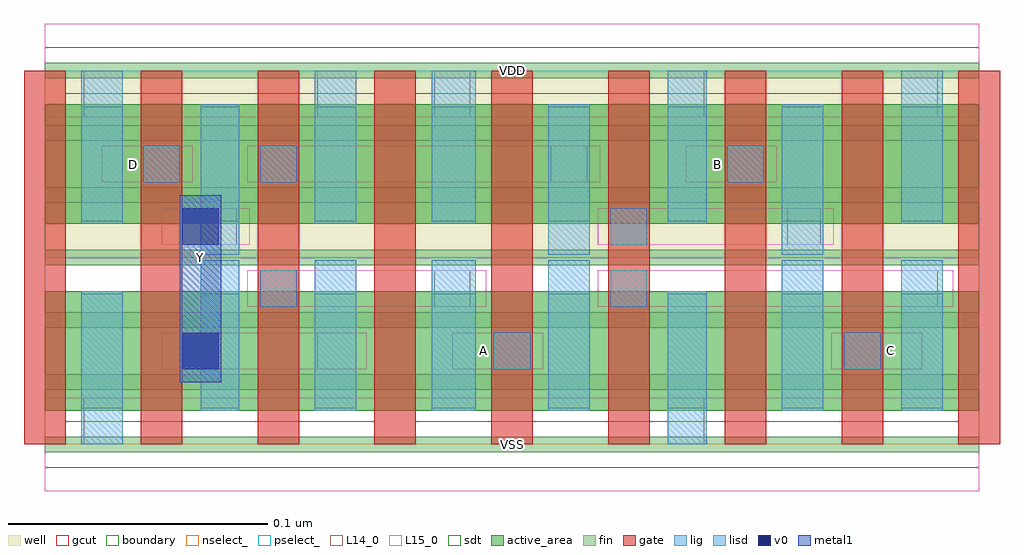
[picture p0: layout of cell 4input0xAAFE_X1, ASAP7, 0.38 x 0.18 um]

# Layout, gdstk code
import gdstk
lib = gdstk.Library(unit=1e-6, precision=1e-09)
def R(c, l, rs):  # rectangles x0, y0, x1, y1
    for r in rs: c.add(gdstk.rectangle(r[:2], r[2:], *l))
def A(c, l, x, y, w, h, nx, ny, dx, dy):  # array of equal rectangles
    R(c, l, [(x+i*dx, y+j*dy, x+i*dx+w, y+j*dy+h) for i in range(nx) for j in range(ny)])
def P(c, l, *ps):  # polygons
    for p in ps: c.add(gdstk.Polygon(p, *l))
well = (1, 0)
fin = (2, 0)
gate = (7, 0)
gcut = (10, 0)
active_area = (11, 0)
nselect_ = (12, 0)
pselect_ = (13, 0)
L14_0 = (14, 0)
L15_0 = (15, 0)
lig = (16, 0)
lisd = (17, 0)
v0 = (18, 0)
metal1 = (19, 0)
sdt = (88, 0)
boundary = (100, 0)

c_4input0xaafe_x1 = lib.new_cell('4input0xAAFE_X1')
R(c_4input0xaafe_x1, well, [(0,0.072,0.36,0.144)])
A(c_4input0xaafe_x1, fin, 0, -0.003, 0.36, 0.006, 1, 7, 0, 0.024)
A(c_4input0xaafe_x1, gate, -0.008, 0, 0.016, 0.144, 9, 1, 0.045, 0)
P(c_4input0xaafe_x1, gcut, [(0,-0.009),(0,0),(-0.008,0),(-0.008,0.135),(0.008,0.135),(0.008,0.009),(0.127,0.009),(0.127,0.135),(0.143,0.135),(0.143,0.009),(0.352,0.009),(0.352,0.135),(-0.008,0.135),(-0.008,0.144),(0,0.144),(0,0.153),(0.36,0.153),(0.36,0.144),(0.368,0.144),(0.368,0),(0.36,0),(0.36,-0.009)])
R(c_4input0xaafe_x1, active_area, [(0,0.013,0.36,0.059), (0,0.085,0.36,0.131)])
R(c_4input0xaafe_x1, nselect_, [(0,0,0.36,0.072)])
R(c_4input0xaafe_x1, pselect_, [(0,0.072,0.36,0.144)])
A(c_4input0xaafe_x1, L14_0, 0.15, 0.126, 0.014, 0.018, 3, 1, 0.09, 0)
R(c_4input0xaafe_x1, L14_0, [(0.015,0,0.03,0.018), (0.24,0,0.254,0.018), (0.105,0.029,0.12,0.043), (0.173,0.029,0.187,0.043), (0.308,0.029,0.322,0.043), (0.083,0.053,0.097,0.067), (0.15,0.053,0.164,0.067), (0.218,0.053,0.232,0.067), (0.33,0.053,0.344,0.067), (0.06,0.077,0.074,0.091), (0.218,0.077,0.232,0.091), (0.286,0.077,0.299,0.091), (0.038,0.101,0.052,0.115), (0.083,0.101,0.097,0.115), (0.195,0.101,0.209,0.115), (0.263,0.101,0.277,0.115), (0.015,0.126,0.03,0.144), (0.105,0.126,0.12,0.144)])
R(c_4input0xaafe_x1, L15_0, [(0,-0.018,0.36,0.018), (0.045,0.029,0.124,0.043), (0.157,0.029,0.192,0.043), (0.303,0.029,0.338,0.043), (0.078,0.053,0.17,0.067), (0.213,0.053,0.35,0.067), (0.045,0.077,0.079,0.091), (0.213,0.077,0.304,0.091), (0.022,0.101,0.057,0.115), (0.078,0.101,0.214,0.115), (0.247,0.101,0.282,0.115), (0,0.126,0.36,0.162)])
R(c_4input0xaafe_x1, lig, [(0.173,0.029,0.187,0.043), (0.308,0.029,0.322,0.043), (0.083,0.053,0.097,0.067), (0.218,0.053,0.232,0.067), (0.218,0.077,0.232,0.091), (0.038,0.101,0.052,0.115), (0.083,0.101,0.097,0.115), (0.263,0.101,0.277,0.115)])
A(c_4input0xaafe_x1, lisd, 0.104, 0.013, 0.016, 0.058, 3, 1, 0.09, 0)
R(c_4input0xaafe_x1, lisd, [(0.014,0,0.03,0.059), (0.24,0,0.255,0.059), (0.06,0.013,0.075,0.071), (0.149,0.013,0.166,0.071), (0.33,0.013,0.346,0.071), (0.06,0.073,0.075,0.131), (0.194,0.073,0.21,0.131), (0.284,0.073,0.3,0.131), (0.014,0.085,0.03,0.144), (0.104,0.085,0.12,0.144), (0.149,0.085,0.166,0.144), (0.24,0.085,0.255,0.144), (0.33,0.085,0.346,0.144)])
R(c_4input0xaafe_x1, v0, [(0.053,0.029,0.067,0.043), (0.053,0.077,0.067,0.091)])
R(c_4input0xaafe_x1, metal1, [(0.052,0.024,0.068,0.096)])
A(c_4input0xaafe_x1, sdt, 0.014, 0.014, 0.016, 0.044, 4, 2, 0.09, 0.072)
R(c_4input0xaafe_x1, sdt, [(0.06,0.014,0.075,0.058), (0.149,0.014,0.166,0.058), (0.24,0.014,0.255,0.058), (0.33,0.014,0.346,0.058), (0.06,0.086,0.075,0.13), (0.149,0.086,0.166,0.13), (0.24,0.086,0.255,0.13), (0.33,0.086,0.346,0.13)])
R(c_4input0xaafe_x1, boundary, [(0,0,0.36,0.144)])
c_4input0xaafe_x1.add(gdstk.Label('C', (0.326,0.036), layer=15, texttype=251))
c_4input0xaafe_x1.add(gdstk.Label('VSS', (0.18,0), layer=15, texttype=251))
c_4input0xaafe_x1.add(gdstk.Label('VDD', (0.18,0.144), layer=15, texttype=251))
c_4input0xaafe_x1.add(gdstk.Label('D', (0.034,0.108), layer=15, texttype=251))
c_4input0xaafe_x1.add(gdstk.Label('VSS', (0.18,0), layer=15, texttype=251))
c_4input0xaafe_x1.add(gdstk.Label('VDD', (0.18,0.144), layer=15, texttype=251))
c_4input0xaafe_x1.add(gdstk.Label('VSS', (0.18,0), layer=15, texttype=251))
c_4input0xaafe_x1.add(gdstk.Label('VDD', (0.18,0.144), layer=15, texttype=251))
c_4input0xaafe_x1.add(gdstk.Label('A', (0.169,0.036), layer=15, texttype=251))
c_4input0xaafe_x1.add(gdstk.Label('VSS', (0.18,0), layer=15, texttype=251))
c_4input0xaafe_x1.add(gdstk.Label('VDD', (0.18,0.144), layer=15, texttype=251))
c_4input0xaafe_x1.add(gdstk.Label('B', (0.259,0.108), layer=15, texttype=251))
c_4input0xaafe_x1.add(gdstk.Label('VSS', (0.18,0), layer=15, texttype=251))
c_4input0xaafe_x1.add(gdstk.Label('VDD', (0.18,0.144), layer=15, texttype=251))
c_4input0xaafe_x1.add(gdstk.Label('VSS', (0.18,0), layer=3, texttype=251))
c_4input0xaafe_x1.add(gdstk.Label('VSS', (0.18,0), layer=3, texttype=251))
c_4input0xaafe_x1.add(gdstk.Label('VSS', (0.18,0), layer=3, texttype=251))
c_4input0xaafe_x1.add(gdstk.Label('VSS', (0.18,0), layer=3, texttype=251))
c_4input0xaafe_x1.add(gdstk.Label('VSS', (0.18,0), layer=3, texttype=251))
c_4input0xaafe_x1.add(gdstk.Label('VDD', (0.18,0.144), layer=1, texttype=251))
c_4input0xaafe_x1.add(gdstk.Label('VDD', (0.18,0.144), layer=1, texttype=251))
c_4input0xaafe_x1.add(gdstk.Label('VDD', (0.18,0.144), layer=1, texttype=251))
c_4input0xaafe_x1.add(gdstk.Label('VDD', (0.18,0.144), layer=1, texttype=251))
c_4input0xaafe_x1.add(gdstk.Label('VDD', (0.18,0.144), layer=1, texttype=251))
c_4input0xaafe_x1.add(gdstk.Label('Y', (0.06,0.072), layer=19, texttype=251))

lib.write_gds('4input0xAAFE_X1.gds')
